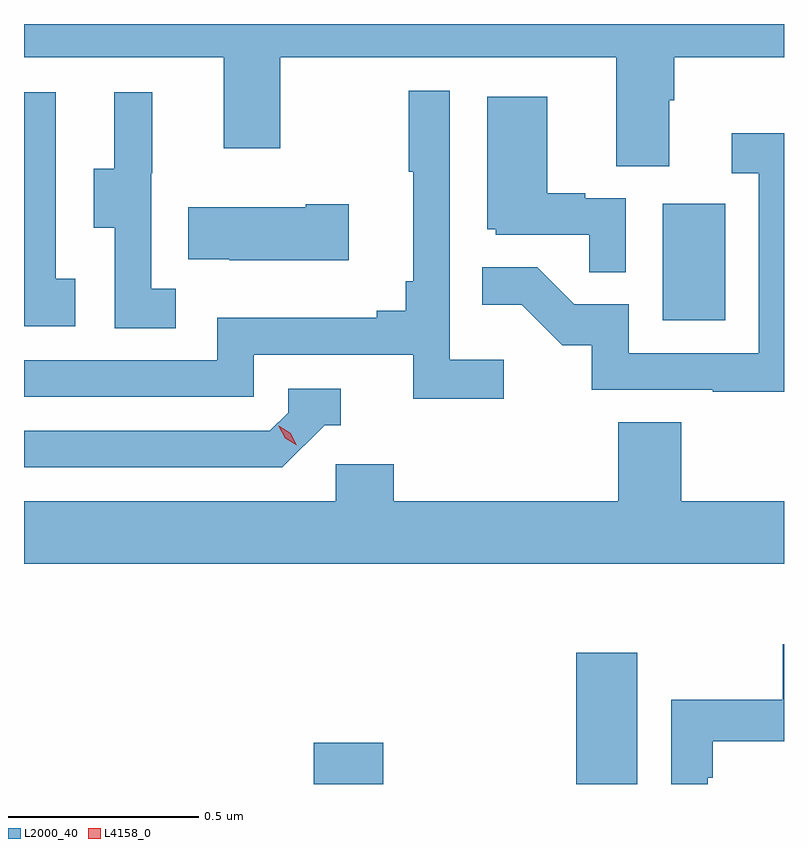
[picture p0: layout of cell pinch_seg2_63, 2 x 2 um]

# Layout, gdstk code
import gdstk
lib = gdstk.Library(unit=1e-6, precision=1e-09)
def R(c, l, rs):  # rectangles x0, y0, x1, y1
    for r in rs: c.add(gdstk.rectangle(r[:2], r[2:], *l))
def P(c, l, *ps):  # polygons
    for p in ps: c.add(gdstk.Polygon(p, *l))
L2000_40 = (2000, 40)
L4158_0 = (4158, 0)

pinch_seg2_63 = lib.new_cell('pinch_seg2_63')
R(pinch_seg2_63, L2000_40, [(1021.142,663.04,1021.325,663.148), (1021.832,663.04,1021.993,663.385), (1022.06,664.26,1022.224,664.567)])
P(pinch_seg2_63, L2000_40, [(1020.379,664.952),(1020.905,664.952),(1020.905,664.713),(1021.053,664.713),(1021.053,664.952),(1021.937,664.952),(1021.937,664.666),(1022.077,664.666),(1022.077,664.84),(1022.09,664.84),(1022.09,664.952),(1022.379,664.952),(1022.379,665.04),(1020.379,665.04)],
  [(1021.642,664.156),(1021.5,664.156),(1021.5,664.864),(1021.392,664.864),(1021.392,664.651),(1021.403,664.651),(1021.403,664.363),(1021.384,664.363),(1021.384,664.286),(1021.307,664.286),(1021.307,664.267),(1020.888,664.267),(1020.888,664.155),(1020.379,664.155),(1020.379,664.059),(1020.984,664.059),(1020.984,664.17),(1021.403,664.17),(1021.403,664.054),(1021.642,664.054)],
  [(1020.778,664.343),(1020.714,664.343),(1020.714,664.647),(1020.716,664.647),(1020.716,664.861),(1020.617,664.861),(1020.617,664.659),(1020.563,664.659),(1020.563,664.504),(1020.618,664.504),(1020.618,664.24),(1020.778,664.24)],
  [(1020.514,664.37),(1020.462,664.37),(1020.462,664.861),(1020.379,664.861),(1020.379,664.245),(1020.514,664.245)],
  [(1021.962,664.581),(1021.856,664.581),(1021.856,664.594),(1021.756,664.594),(1021.756,664.849),(1021.598,664.849),(1021.598,664.5),(1021.62,664.5),(1021.62,664.485),(1021.867,664.485),(1021.867,664.387),(1021.962,664.387)],
  [(1022.379,664.753),(1022.241,664.753),(1022.241,664.647),(1022.313,664.647),(1022.313,664.173),(1021.971,664.173),(1021.971,664.302),(1021.827,664.302),(1021.729,664.4),(1021.585,664.4),(1021.585,664.301),(1021.689,664.301),(1021.796,664.194),(1021.873,664.194),(1021.873,664.077),(1022.191,664.077),(1022.191,664.072),(1022.379,664.072)],
  [(1021.234,664.566),(1021.121,664.566),(1021.121,664.558),(1020.811,664.558),(1020.811,664.421),(1020.919,664.421),(1020.919,664.418),(1021.234,664.418)],
  [(1021.17,663.984),(1021.213,663.984),(1021.213,664.08),(1021.074,664.08),(1021.074,664.017),(1021.026,663.969),(1020.379,663.969),(1020.379,663.873),(1021.059,663.873)],
  [(1022.379,663.784),(1022.108,663.784),(1022.108,663.992),(1021.943,663.992),(1021.943,663.784),(1021.352,663.784),(1021.352,663.882),(1021.2,663.882),(1021.2,663.784),(1020.379,663.784),(1020.379,663.62),(1022.379,663.62)],
  [(1022.178,663.056),(1022.192,663.056),(1022.192,663.152),(1022.379,663.152),(1022.379,663.408),(1022.376,663.408),(1022.376,663.262),(1022.082,663.262),(1022.082,663.04),(1022.178,663.04)])
P(pinch_seg2_63, L4158_0, [(1021.097,663.931),(1021.066,663.95),(1021.049,663.982),(1021.049,663.983),(1021.05,663.983),(1021.081,663.963),(1021.097,663.931),(1021.097,663.931)])

lib.write_gds('pinch_seg2_63.gds')
